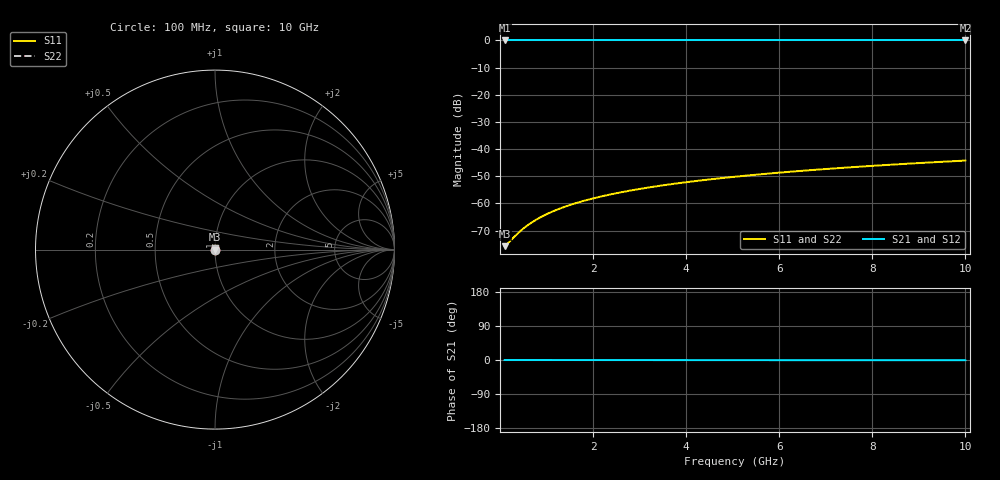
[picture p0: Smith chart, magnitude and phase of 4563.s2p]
# Hz S RI R 50.00
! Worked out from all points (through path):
!   100 points, 100 MHz to 10 GHz, reference 50 ohm
!   highest |S21| = 0.00 dB at 100 MHz (marker M1); lowest = 0.0 dB at 10 GHz (marker M2)
!   lowest |S11| = -75.8 dB at 100 MHz (marker M3), VSWR 1.00, Z = 50 + j0.00612 ohm
!   |S11| at or under -10 dB: start of sweep to end of sweep
!   |S22| runs from -75.8 to -44.2 dB; largest |S21 - S12| = 0
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1e8  0.000151 6.11e-05  0.9998 -0.000115  0.9998 -0.000115  0.000151 6.11e-05
2e8  0.000152 0.000122  0.9998 -0.00023  0.9998 -0.00023  0.000152 0.000122
4e8  0.000153 0.000245  0.9998 -0.000459  0.9998 -0.000459  0.000153 0.000245
5e8  0.000154 0.000306  0.9998 -0.000574  0.9998 -0.000574  0.000154 0.000306
6e8  0.000154 0.000367  0.9998 -0.000689  0.9998 -0.000689  0.000154 0.000367
7e8  0.000155 0.000428  0.9998 -0.000803  0.9998 -0.000803  0.000155 0.000428
8e8  0.000155 0.000489  0.9998 -0.000918  0.9998 -0.000918  0.000155 0.000489
1e9  0.000156 0.000611  0.9998 -0.00115  0.9998 -0.00115  0.000156 0.000611
1.2e9  0.000157 0.000734  0.9998 -0.00138  0.9998 -0.00138  0.000157 0.000734
1.5e9  0.000158 0.000917  0.9998 -0.00172  0.9998 -0.00172  0.000158 0.000917
1.8e9  0.00016 0.0011  0.9998 -0.00207  0.9998 -0.00207  0.00016 0.0011
2.1e9  0.000161 0.00128  0.9998 -0.00241  0.9998 -0.00241  0.000161 0.00128
2.5e9  0.000163 0.00153  0.9998 -0.00287  0.9998 -0.00287  0.000163 0.00153
2.9e9  0.000165 0.00177  0.9998 -0.00333  0.9998 -0.00333  0.000165 0.00177
3.4e9  0.000168 0.00208  0.9998 -0.00391  0.9998 -0.00391  0.000168 0.00208
4.2e9  0.000174 0.00257  0.9998 -0.00483  0.9998 -0.00483  0.000174 0.00257
5.1e9  0.000181 0.00312  0.9998 -0.00586  0.9998 -0.00586  0.000181 0.00312
5.9e9  0.000188 0.00361  0.9998 -0.00678  0.9998 -0.00678  0.000188 0.00361
6.7e9  0.000196 0.0041  0.9998 -0.00771  0.9998 -0.00771  0.000196 0.0041
7.5e9  0.000205 0.00459  0.9998 -0.00863  0.9998 -0.00863  0.000205 0.00459
8.4e9  0.000217 0.00515  0.9998 -0.00967  0.9998 -0.00967  0.000217 0.00515
1e10  0.000239 0.00613  0.9997 -0.0115  0.9997 -0.0115  0.000239 0.00613
